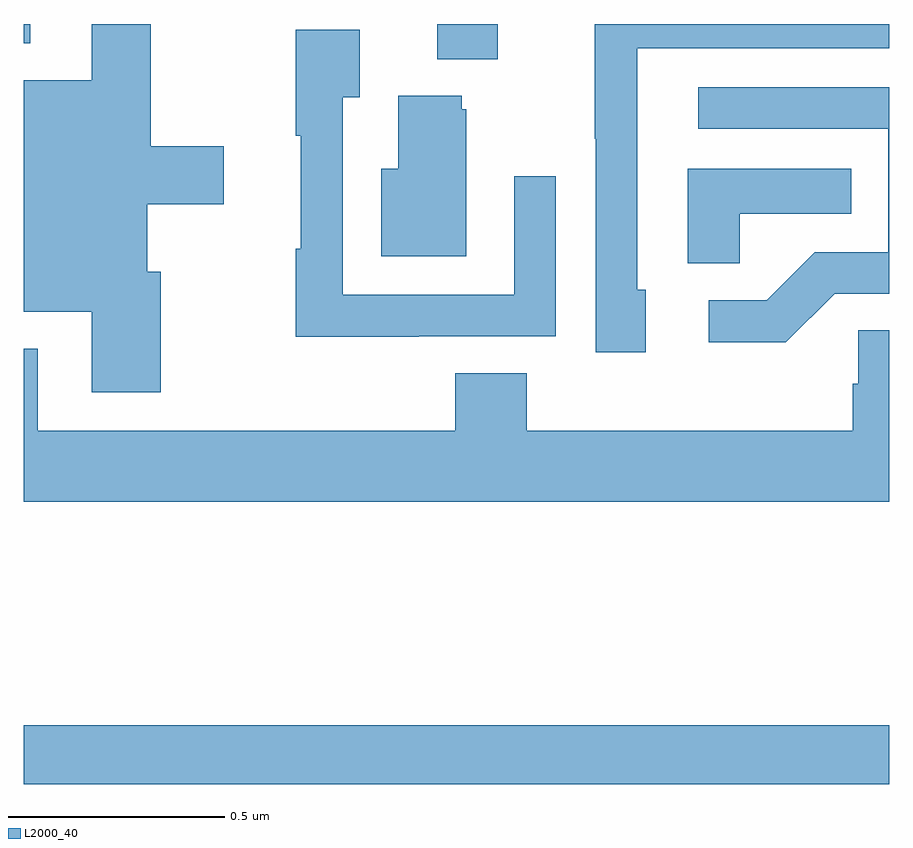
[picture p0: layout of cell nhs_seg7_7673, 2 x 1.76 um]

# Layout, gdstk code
import gdstk
lib = gdstk.Library(unit=1e-6, precision=1e-09)
def R(c, l, rs):  # rectangles x0, y0, x1, y1
    for r in rs: c.add(gdstk.rectangle(r[:2], r[2:], *l))
def P(c, l, *ps):  # polygons
    for p in ps: c.add(gdstk.Polygon(p, *l))
L2000_40 = (2000, 40)

nhs_seg7_7673 = lib.new_cell('nhs_seg7_7673')
R(nhs_seg7_7673, L2000_40, [(214,1053.244,216,1053.38), (214.955,1054.919,215.095,1055), (214,1054.955,214.015,1055)])
P(nhs_seg7_7673, L2000_40, [(215.437,1054.386),(215.418,1054.386),(215.418,1054.944),(216,1054.944),(216,1055),(215.32,1055),(215.32,1054.735),(215.322,1054.735),(215.322,1054.242),(215.437,1054.242)],
  [(214.317,1054.428),(214.285,1054.428),(214.285,1054.583),(214.462,1054.583),(214.462,1054.718),(214.293,1054.718),(214.293,1055),(214.157,1055),(214.157,1054.87),(214,1054.87),(214,1054.335),(214.157,1054.335),(214.157,1054.149),(214.317,1054.149)],
  [(214.913,1054.278),(215.229,1054.278),(215.229,1054.648),(215.133,1054.648),(215.133,1054.374),(214.737,1054.374),(214.737,1054.831),(214.777,1054.831),(214.777,1054.987),(214.629,1054.987),(214.629,1054.742),(214.64,1054.742),(214.64,1054.481),(214.629,1054.481),(214.629,1054.277),(214.913,1054.277)],
  [(215.874,1054.377),(216,1054.377),(216,1054.854),(215.559,1054.854),(215.559,1054.758),(215.997,1054.758),(215.997,1054.473),(215.828,1054.473),(215.717,1054.362),(215.583,1054.362),(215.583,1054.265),(215.761,1054.265)],
  [(215.023,1054.803),(215.012,1054.803),(215.012,1054.834),(214.865,1054.834),(214.865,1054.666),(214.826,1054.666),(214.826,1054.463),(215.023,1054.463)],
  [(215.655,1054.562),(215.912,1054.562),(215.912,1054.666),(215.534,1054.666),(215.534,1054.447),(215.655,1054.447)],
  [(216,1054.292),(215.928,1054.292),(215.928,1054.169),(215.915,1054.169),(215.915,1054.06),(215.162,1054.06),(215.162,1054.193),(214.997,1054.193),(214.997,1054.06),(214.033,1054.06),(214.033,1054.25),(214,1054.25),(214,1053.896),(216,1053.896)])

lib.write_gds('nhs_seg7_7673.gds')
